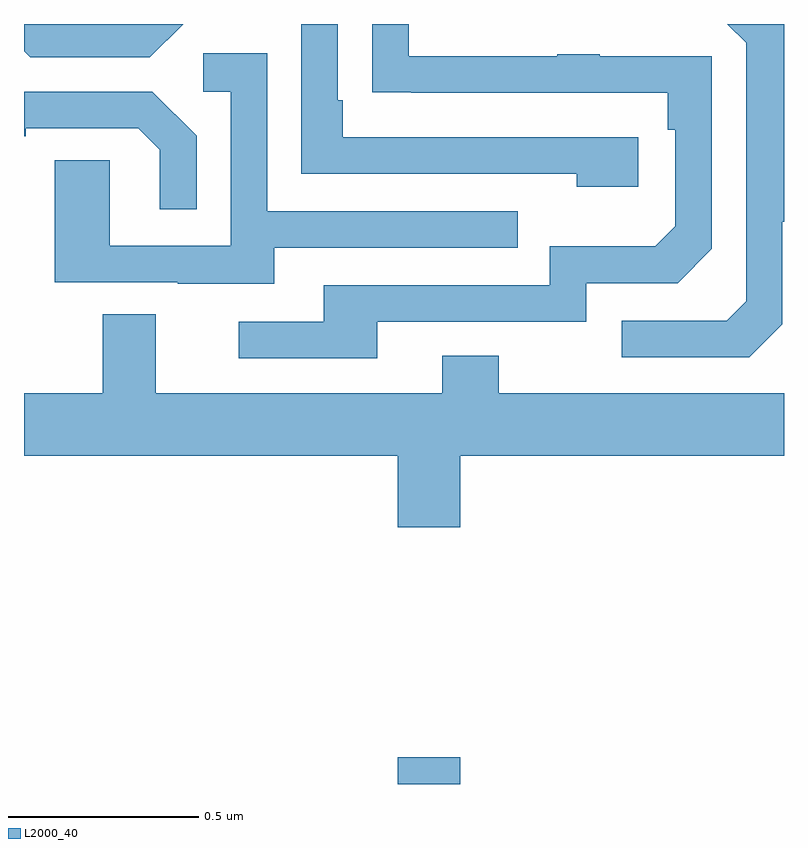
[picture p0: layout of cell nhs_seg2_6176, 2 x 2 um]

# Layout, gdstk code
import gdstk
lib = gdstk.Library(unit=1e-6, precision=1e-09)
def R(c, l, rs):  # rectangles x0, y0, x1, y1
    for r in rs: c.add(gdstk.rectangle(r[:2], r[2:], *l))
def P(c, l, *ps):  # polygons
    for p in ps: c.add(gdstk.Polygon(p, *l))
L2000_40 = (2000, 40)

nhs_seg2_6176 = lib.new_cell('nhs_seg2_6176')
R(nhs_seg2_6176, L2000_40, [(188.984,618.8,189.148,618.871)])
P(nhs_seg2_6176, L2000_40, [(189.996,620.01),(189.996,620.279),(190,620.279),(190,620.8),(189.851,620.8),(189.9,620.751),(189.9,620.07),(189.849,620.019),(189.573,620.019),(189.573,619.923),(189.909,619.923)],
  [(188.929,620.016),(189.48,620.016),(189.48,620.118),(189.72,620.118),(189.81,620.208),(189.81,620.715),(189.515,620.715),(189.515,620.72),(189.403,620.72),(189.403,620.715),(189.013,620.715),(189.013,620.8),(188.917,620.8),(188.917,620.62),(189.019,620.62),(189.019,620.619),(189.694,620.619),(189.694,620.522),(189.714,620.522),(189.714,620.268),(189.661,620.215),(189.384,620.215),(189.384,620.112),(188.789,620.112),(188.789,620.016),(188.565,620.016),(188.565,619.92),(188.929,619.92)],
  [(188.419,620.8),(188,620.8),(188,620.728),(188.016,620.712),(188.331,620.712)],
  [(189.616,620.502),(188.839,620.502),(188.839,620.599),(188.826,620.599),(188.826,620.8),(188.73,620.8),(188.73,620.406),(189.455,620.406),(189.455,620.372),(189.616,620.372)],
  [(188.659,620.211),(189.299,620.211),(189.299,620.307),(188.64,620.307),(188.64,620.723),(188.472,620.723),(188.472,620.622),(188.544,620.622),(188.544,620.217),(188.226,620.217),(188.226,620.441),(188.081,620.441),(188.081,620.121),(188.405,620.121),(188.405,620.117),(188.659,620.117)],
  [(188.454,620.506),(188.338,620.622),(188,620.622),(188,620.504),(188.005,620.504),(188.005,620.526),(188.3,620.526),(188.357,620.469),(188.357,620.313),(188.454,620.313)],
  [(189.148,619.664),(190,619.664),(190,619.828),(189.249,619.828),(189.249,619.927),(189.101,619.927),(189.101,619.828),(188.347,619.828),(188.347,620.036),(188.207,620.036),(188.207,619.828),(188,619.828),(188,619.664),(188.984,619.664),(188.984,619.476),(189.148,619.476)])

lib.write_gds('nhs_seg2_6176.gds')
